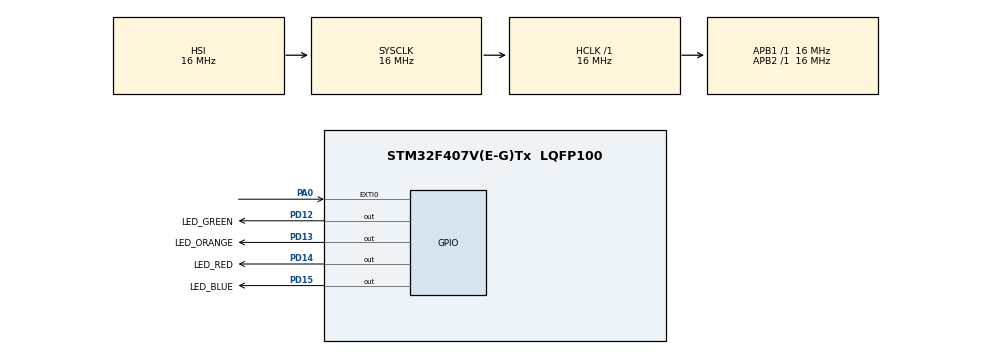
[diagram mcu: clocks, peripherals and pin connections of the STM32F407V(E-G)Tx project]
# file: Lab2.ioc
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Mcu.Family=STM32F4
Mcu.Name=STM32F407V(E-G)Tx
Mcu.Package=LQFP100
NVIC.EXTI0_IRQn=true\:0\:0\:false\:false\:true\:true\:true\:true
NVIC.PriorityGroup=NVIC_PRIORITYGROUP_4
PA0-WKUP.Signal=GPXTI0
PD12.GPIO_Label=LED_GREEN
PD12.Signal=GPIO_Output
PD13.GPIO_Label=LED_ORANGE
PD13.Signal=GPIO_Output
PD14.GPIO_Label=LED_RED
PD14.Signal=GPIO_Output
PD15.GPIO_Label=LED_BLUE
PD15.Signal=GPIO_Output
ProjectManager.HeapSize=0x200
ProjectManager.StackSize=0x400
ProjectManager.TargetToolchain=STM32CubeIDE
RCC.AHBFreq_Value=16000000
RCC.APB1Freq_Value=16000000
RCC.APB2Freq_Value=16000000
RCC.CortexFreq_Value=16000000
RCC.HSE_VALUE=25000000
RCC.HSI_VALUE=16000000
RCC.LSE_VALUE=32768
RCC.SYSCLKFreq_VALUE=16000000
RCC.VCOOutputFreq_Value=192000000
board=custom

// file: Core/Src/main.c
/* USER CODE BEGIN Header */
/**
  ******************************************************************************
  * @file           : main.c
  * @brief          : Main program body
  ******************************************************************************
  * @attention
  *
  * Copyright (c) 2023 STMicroelectronics.
  * All rights reserved.
  *
  * This software is licensed under terms that can be found in the LICENSE file
  * in the root directory of this software component.
  * If no LICENSE file comes with this software, it is provided AS-IS.
  *
  ******************************************************************************
  */
/* USER CODE END Header */
#include "main.h"

/* USER CODE BEGIN PD */
#define LED_SWITCH_DELAY (1000)
/* USER CODE END PD */

/* USER CODE BEGIN PV */
unsigned int ledN = 0;
/* USER CODE END PV */

void SystemClock_Config(void);
static void MX_GPIO_Init(void);

int main(void)
{

  /* MCU Configuration--------------------------------------------------------*/

  /* Reset of all peripherals, Initializes the Flash interface and the Systick. */
  HAL_Init();

  /* Configure the system clock */
  SystemClock_Config();

  /* Initialize all configured peripherals */
  MX_GPIO_Init();

  /* Infinite loop */
  /* USER CODE BEGIN WHILE */
  while (1)
  {
//	  	  //Read colour change button state
//	  	  GPIO_PinState btnState;
//	  	  btnState = HAL_GPIO_ReadPin(COLOR_BTN_GPIO_Port, COLOR_BTN_Pin);
//
//	  	  //if button pressed
//	  	  if (btnState == GPIO_PIN_SET)
//	  	  {
//
//	  		  // change LED number
//	  		  ledN++;
//	  		  if (ledN > 3)
//	  		  {
//	  			  ledN = 0;
//	  		  }
//	  	  }

	  if (ledN == 0)
		  {
			  HAL_GPIO_WritePin(LED_GREEN_GPIO_Port, LED_GREEN_Pin, GPIO_PIN_SET);
			  HAL_Delay(LED_SWITCH_DELAY);
			  HAL_GPIO_WritePin(LED_GREEN_GPIO_Port, LED_GREEN_Pin, GPIO_PIN_RESET);
			  HAL_Delay(LED_SWITCH_DELAY);
		  }
		  else if (ledN == 1)
		  {
			  HAL_GPIO_WritePin(LED_ORANGE_GPIO_Port, LED_ORANGE_Pin, GPIO_PIN_SET);
			  HAL_Delay(LED_SWITCH_DELAY);
			  HAL_GPIO_WritePin(LED_ORANGE_GPIO_Port, LED_ORANGE_Pin, GPIO_PIN_RESET);
			  HAL_Delay(LED_SWITCH_DELAY);
		  }
		  else if (ledN == 2)
		  {
			  HAL_GPIO_WritePin(LED_RED_GPIO_Port, LED_RED_Pin, GPIO_PIN_SET);
			  HAL_Delay(LED_SWITCH_DELAY);
		  	  HAL_GPIO_WritePin(LED_RED_GPIO_Port, LED_RED_Pin, GPIO_PIN_RESET);
		  	  HAL_Delay(LED_SWITCH_DELAY);
		  }
		  else
		  {
		  	  HAL_GPIO_WritePin(LED_BLUE_GPIO_Port, LED_BLUE_Pin, GPIO_PIN_SET);
		  	  HAL_Delay(LED_SWITCH_DELAY);
		   	  HAL_GPIO_WritePin(LED_BLUE_GPIO_Port, LED_BLUE_Pin, GPIO_PIN_RESET);
		   	  HAL_Delay(LED_SWITCH_DELAY);
		  }
    /* USER CODE END WHILE */

  }
}

void SystemClock_Config(void)
{
  RCC_OscInitTypeDef RCC_OscInitStruct = {0};
  RCC_ClkInitTypeDef RCC_ClkInitStruct = {0};

  /** Configure the main internal regulator output voltage
  */
  __HAL_RCC_PWR_CLK_ENABLE();
  __HAL_PWR_VOLTAGESCALING_CONFIG(PWR_REGULATOR_VOLTAGE_SCALE1);

  /** Initializes the RCC Oscillators according to the specified parameters
  * in the RCC_OscInitTypeDef structure.
  */
  RCC_OscInitStruct.OscillatorType = RCC_OSCILLATORTYPE_HSI;
  RCC_OscInitStruct.HSIState = RCC_HSI_ON;
  RCC_OscInitStruct.HSICalibrationValue = RCC_HSICALIBRATION_DEFAULT;
  RCC_OscInitStruct.PLL.PLLState = RCC_PLL_NONE;
  if (HAL_RCC_OscConfig(&RCC_OscInitStruct) != HAL_OK)
  {
    Error_Handler();
  }

  /** Initializes the CPU, AHB and APB buses clocks
  */
  RCC_ClkInitStruct.ClockType = RCC_CLOCKTYPE_HCLK|RCC_CLOCKTYPE_SYSCLK
                              |RCC_CLOCKTYPE_PCLK1|RCC_CLOCKTYPE_PCLK2;
  RCC_ClkInitStruct.SYSCLKSource = RCC_SYSCLKSOURCE_HSI;
  RCC_ClkInitStruct.AHBCLKDivider = RCC_SYSCLK_DIV1;
  RCC_ClkInitStruct.APB1CLKDivider = RCC_HCLK_DIV1;
  RCC_ClkInitStruct.APB2CLKDivider = RCC_HCLK_DIV1;

  if (HAL_RCC_ClockConfig(&RCC_ClkInitStruct, FLASH_LATENCY_0) != HAL_OK)
  {
    Error_Handler();
  }
}

static void MX_GPIO_Init(void)
{
  GPIO_InitTypeDef GPIO_InitStruct = {0};

  /* GPIO Ports Clock Enable */
  __HAL_RCC_GPIOA_CLK_ENABLE();
  __HAL_RCC_GPIOD_CLK_ENABLE();

  /*Configure GPIO pin Output Level */
  HAL_GPIO_WritePin(GPIOD, LED_GREEN_Pin|LED_ORANGE_Pin|LED_RED_Pin|LED_BLUE_Pin, GPIO_PIN_RESET);

  /*Configure GPIO pin : PA0 */
  GPIO_InitStruct.Pin = GPIO_PIN_0;
  GPIO_InitStruct.Mode = GPIO_MODE_IT_RISING;
  GPIO_InitStruct.Pull = GPIO_NOPULL;
  HAL_GPIO_Init(GPIOA, &GPIO_InitStruct);

  /*Configure GPIO pins : LED_GREEN_Pin LED_ORANGE_Pin LED_RED_Pin LED_BLUE_Pin */
  GPIO_InitStruct.Pin = LED_GREEN_Pin|LED_ORANGE_Pin|LED_RED_Pin|LED_BLUE_Pin;
  GPIO_InitStruct.Mode = GPIO_MODE_OUTPUT_PP;
  GPIO_InitStruct.Pull = GPIO_NOPULL;
  GPIO_InitStruct.Speed = GPIO_SPEED_FREQ_LOW;
  HAL_GPIO_Init(GPIOD, &GPIO_InitStruct);

  /* EXTI interrupt init*/
  HAL_NVIC_SetPriority(EXTI0_IRQn, 0, 0);
  HAL_NVIC_EnableIRQ(EXTI0_IRQn);

}

void Error_Handler(void)
{
  __disable_irq();
  while (1)
  {
  }
}
